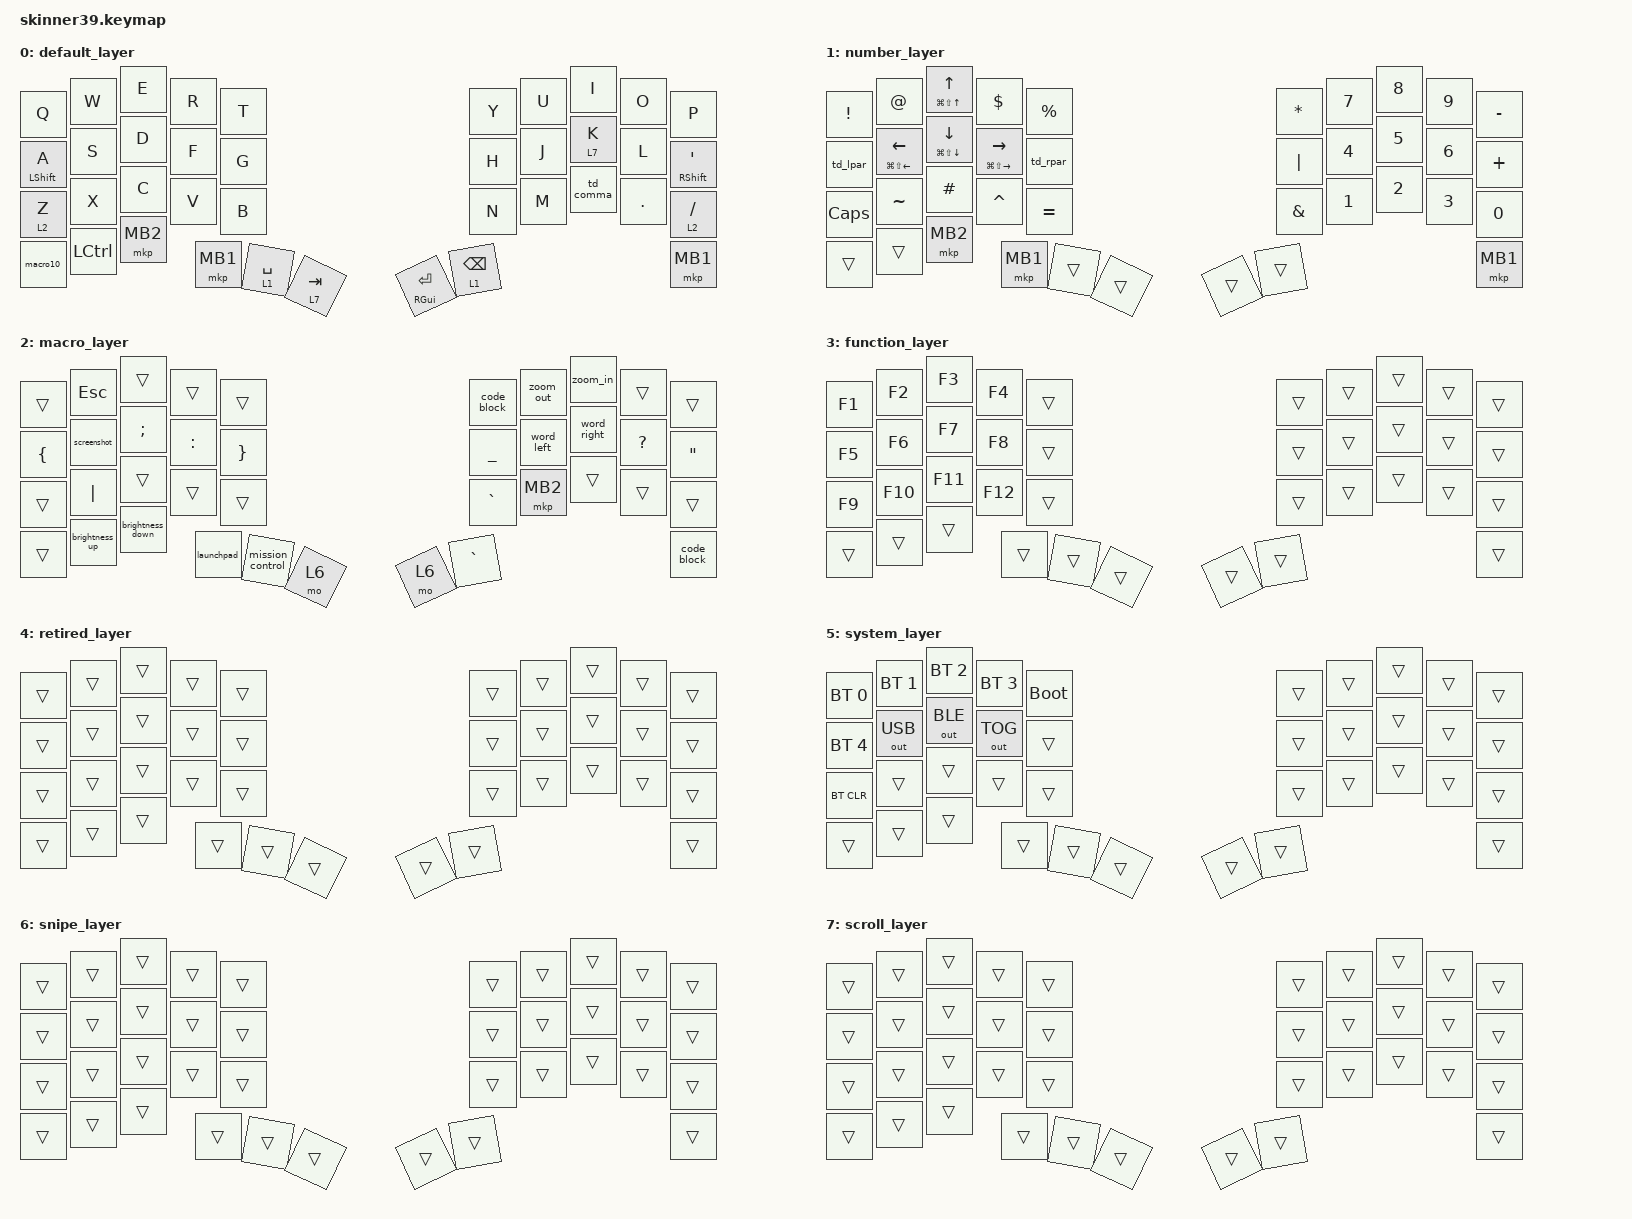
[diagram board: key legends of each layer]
#include <behaviors.dtsi>
#include <dt-bindings/zmk/bt.h>
#include <dt-bindings/zmk/keys.h>
#include <dt-bindings/zmk/outputs.h>
#include <dt-bindings/zmk/pointing.h>
#include <input/processors.dtsi>
#include <dt-bindings/zmk/input_transform.h>

/*
 * Trackball input-processors are defined ONCE, in the board .dts
 *   (boards/yangxing/skinner39/skinner39_left_nrf52840_zmk.dts -> &pmw_listener).
 * The old per-keymap override that used to sit here silently bound scroll onto
 * macro_layer (index 2) at 1/4 speed with Y inverted, shadowing the .dts. Removed.
 * Reach: hold a left thumb (&lt 7) = scroll (layer 7);  &mo 6 (macro_layer) = snipe (layer 6).
 * See keysmith-design/06-trackball-T0-T1-implementation.md.
 */

/ {
    behaviors {
        hml: homerow_mods_left {
            compatible = "zmk,behavior-hold-tap";
            label = "HOMEROW_MODS_LEFT";
            #binding-cells = <2>;
            flavor = "balanced";
            tapping-term-ms = <200>;      // Reduced from 280ms for faster shift activation
            quick-tap-ms = <125>;         // Reduced from 175ms
            require-prior-idle-ms = <100>; // Reduced from 150ms
            bindings = <&kp>, <&kp>;

            // Cross-hand: A's shift engages only when chorded with a RIGHT-hand key
            // (5-9 / 15-19 / 25-29) or the click/space thumbs (33 34), so same-hand
            // left rolls never misfire as shift. (Thumbs 35-38 were a 2026-06-12
            // A=LGUI-era addition for Cmd+Tab/Enter/Backspace; dropped 2026-06-16 with
            // the LSHIFT restore — A no longer carries a mod that wants those chords.)
            hold-trigger-key-positions = <5 6 7 8 9 15 16 17 18 19 25 26 27 28 29 33 34>;
            hold-trigger-on-release;
        };

        hmr: homerow_mods_right {
            compatible = "zmk,behavior-hold-tap";
            label = "HOMEROW_MODS_RIGHT";
            #binding-cells = <2>;
            flavor = "balanced";
            tapping-term-ms = <200>;      // Reduced from 280ms for faster shift activation
            quick-tap-ms = <125>;         // Reduced from 175ms
            require-prior-idle-ms = <100>; // Reduced from 150ms
            bindings = <&kp>, <&kp>;

            hold-trigger-key-positions = <0 1 2 3 4 10 11 12 13 14 20 21 22 23 24 30 31 32>;
            hold-trigger-on-release;
        };

        my_lt: my_layer_tap {
            compatible = "zmk,behavior-hold-tap";
            label = "MY_LAYER_TAP";
            #binding-cells = <2>;
            flavor = "balanced";
            tapping-term-ms = <280>;
            quick-tap-ms = <175>;
            require-prior-idle-ms = <150>;
            bindings = <&mo>, <&kp>;
        };

        // Double-tap , = ` (single backtick) — base-layer convenience, added 2026-06-16.
        // Comma chosen because ",," never occurs in real text, so a natural double can't
        // misfire; and tap-dance flushes the pending comma the instant the NEXT key is
        // pressed, so mid-sentence commas have no perceptible delay — only a comma typed
        // as the very last keystroke before a pause waits out the 200ms term. Clean (no
        // hold to nest), leaves / (pos 29) and its macro-layer hold untouched.
        td_comma: tap_dance_comma {
            compatible = "zmk,behavior-tap-dance";
            label = "TD_COMMA";
            #binding-cells = <0>;
            tapping-term-ms = <200>;
            bindings = <&kp COMMA>, <&kp GRAVE>;
        };

        // Double-tap ( = [  and  double-tap ) = ]  — on the layer-1 (number_layer) paren
        // keys. Same hold-free tap-dance shape as td_comma: a single paren flushes the
        // instant the NEXT key is pressed, so it's only delayed when typed as the very last
        // keystroke before a pause; a rapid double within 200ms yields the bracket. Heads-up:
        // unlike ",,", a real "((" / "))" (nested calls, grouped math) WILL land as a bracket
        // — accepted tradeoff for one-finger brackets without leaving the number layer.
        td_lpar: tap_dance_lpar {
            compatible = "zmk,behavior-tap-dance";
            label = "TD_LPAR";
            #binding-cells = <0>;
            tapping-term-ms = <200>;
            bindings = <&kp LPAR>, <&kp LBKT>;
        };

        td_rpar: tap_dance_rpar {
            compatible = "zmk,behavior-tap-dance";
            label = "TD_RPAR";
            #binding-cells = <0>;
            tapping-term-ms = <200>;
            bindings = <&kp RPAR>, <&kp RBKT>;
        };

        // Arrow-to-edge SELECT (the layer-1 arrows): tap = move one; HOLD = select to the
        // edge in that direction — macOS ⌘⇧+arrow. The behavior lives ON the arrow keys,
        // so there's no separate modifier to reach for. flavor=tap-preferred + quick-tap:
        //   • quick tap = move (rapid taps still move N lines/chars, instant on release)
        //   • deliberate ~200ms hold = select-to-edge
        //   • tap-then-hold still auto-repeats the plain arrow, so hold-to-repeat isn't lost
        // Directions:  ↑ ⌘⇧↑ select to doc top      ↓ ⌘⇧↓ select to doc bottom
        //              ← ⌘⇧← select to line start   → ⌘⇧→ select to line end
        arrowsel: arrow_select {
            compatible = "zmk,behavior-hold-tap";
            label = "ARROW_SELECT";
            #binding-cells = <2>;
            flavor = "tap-preferred";
            tapping-term-ms = <200>;
            quick-tap-ms = <200>;
            bindings = <&kp>, <&kp>;
        };

        // Hold K = SCROLL (layer 7); tap K = K. A right-hand, NON-thumb twin of the
        // left-thumb &lt 7 TAB scroll hold (default_layer pos 35), so either hand can drive
        // the right-half trackball's scroll. Home-row K was picked over the bottom-right
        // corner (pos 38, a pinky stretch): K rests under the middle finger and is a rare
        // letter (~0.8% of text). balanced + require-prior-idle-150 — the same guard the
        // homerow mods use — means a K in mid-typing-stream is ALWAYS the letter; the scroll
        // layer only arms after a ~150ms pause (i.e. once you've stopped typing to reach for
        // the ball). 200ms term ≈ the left-thumb scroll's hold latency. NB: trackball motion
        // does NOT resolve a hold-tap, so scroll engages on the 200ms timeout, never early.
        scrl_lt: scroll_layer_tap {
            compatible = "zmk,behavior-hold-tap";
            label = "SCROLL_LAYER_TAP";
            #binding-cells = <2>;
            flavor = "balanced";
            tapping-term-ms = <200>;
            quick-tap-ms = <175>;
            require-prior-idle-ms = <150>;
            bindings = <&mo>, <&kp>;
        };
    };

    macros {
        screenshot: screenshot {
            compatible = "zmk,behavior-macro";
            label = "SCREENSHOT";
            #binding-cells = <0>;
            wait-ms = <40>;
            tap-ms = <40>;
            bindings =
                <&macro_press>,
                <&kp LGUI &kp LSHFT>,
                <&macro_tap>,
                <&kp N4>,
                <&macro_release>,
                <&kp LSHFT &kp LGUI>;
        };

        zoom_out: zoom_out {
            compatible = "zmk,behavior-macro";
            label = "ZOOM_OUT";
            #binding-cells = <0>;
            wait-ms = <40>;
            tap-ms = <40>;
            bindings =
                <&macro_press>,
                <&kp LGUI>,
                <&macro_tap>,
                <&kp MINUS>,
                <&macro_release>,
                <&kp LGUI>;
        };

        zoom_in: zoom_in {
            compatible = "zmk,behavior-macro";
            label = "ZOOM_IN";
            #binding-cells = <0>;
            wait-ms = <40>;
            tap-ms = <40>;
            bindings =
                <&macro_press>,
                <&kp LGUI &kp LSHFT>,
                <&macro_tap>,
                <&kp EQUAL>,
                <&macro_release>,
                <&kp LSHFT &kp LGUI>;
        };

        word_right: word_right {
            compatible = "zmk,behavior-macro";
            label = "WORD_RIGHT";
            #binding-cells = <0>;
            wait-ms = <40>;
            tap-ms = <40>;
            bindings =
                <&macro_press>,
                <&kp LCTRL>,
                <&macro_tap>,
                <&kp RIGHT>,
                <&macro_release>,
                <&kp LCTRL>;
        };

        word_left: word_left {
            compatible = "zmk,behavior-macro";
            label = "WORD_LEFT";
            #binding-cells = <0>;
            wait-ms = <40>;
            tap-ms = <40>;
            bindings =
                <&macro_press>,
                <&kp LCTRL>,
                <&macro_tap>,
                <&kp LEFT>,
                <&macro_release>,
                <&kp LCTRL>;
        };

        brightness_up: brightness_up {
            compatible = "zmk,behavior-macro";
            label = "BRIGHTNESS_UP";
            #binding-cells = <0>;
            bindings = <&kp F15>;
        };

        brightness_down: brightness_down {
            compatible = "zmk,behavior-macro";
            label = "BRIGHTNESS_DOWN";
            #binding-cells = <0>;
            bindings = <&kp F14>;
        };

        launchpad: launchpad {
            compatible = "zmk,behavior-macro";
            label = "LAUNCHPAD";
            #binding-cells = <0>;
            bindings = <&kp F4>;
        };

        mission_control: mission_control {
            compatible = "zmk,behavior-macro";
            label = "MISSION_CONTROL";
            #binding-cells = <0>;
            bindings = <&kp F3>;
        };

        code_block: code_block {
            compatible = "zmk,behavior-macro";
            label = "CODE_BLOCK";
            #binding-cells = <0>;
            wait-ms = <5>;   // was 40/40 -> three visibly separate backticks (~240ms);
            tap-ms = <5>;    // 5/5 lands as one ~30ms burst, still safely paced for BLE
            bindings = <&kp GRAVE &kp GRAVE &kp GRAVE>;
        };

        macro10: macro10 {
            compatible = "zmk,behavior-macro";
            label = "CTRL_UP";
            #binding-cells = <0>;
            wait-ms = <40>;
            tap-ms = <40>;
            bindings =
                <&macro_press>,
                <&kp LCTRL>,
                <&macro_tap>,
                <&kp UP>,
                <&macro_release>,
                <&kp LCTRL>;
        };
    };

    combos {
        compatible = "zmk,combos";
        // The H1 recovery road to system_layer(5). Supersedes P1-7's tri-layer
        // (if-layers 1+2 -> 5), which was confirmed INERT on-device: the my_lt
        // activators exist only on the base layer, so 1 and 2 can't be co-held.
        combo_system {
            timeout-ms = <50>;
            require-prior-idle-ms = <150>;
            key-positions = <0 9>;   // Q + P, the two top-outer corners
            bindings = <&sl 5>;      // sticky -> next key lands on system_layer(5)
            layers = <0>;
        };
    };

    keymap {
        compatible = "zmk,keymap";

        // 2026-06-16: A-hold = LSHIFT again (reverted the 2026-06-12 A=LGUI experiment
        // after use — owner wants the left-hand shift back, symmetric with ' = RSHIFT on
        // the right). The board now has TWO home-row shifts: A (left, hml) and ' (right,
        // hmr). NOTE: nothing now maps L-GUI as a hold — if the Cmd-hold is wanted again,
        // rehome it on a free key rather than re-stealing A (ask owner).
        default_layer {
            bindings = <
  &kp Q          &kp W      &kp E        &kp R     &kp T                                                  &kp Y               &kp U  &kp I      &kp O    &kp P
  &hml LSHIFT A  &kp S      &kp D        &kp F     &kp G                                                  &kp H               &kp J  &scrl_lt 7 K  &kp L    &hmr RSHIFT SQT
  &my_lt 2 Z     &kp X      &kp C        &kp V     &kp B                                                  &kp N               &kp M  &td_comma  &kp DOT  &my_lt 2 FSLH
  &macro10       &kp LCTRL  &mkp MB2  &mkp MB1  &my_lt 1 SPACE  &lt 7 TAB  &mt RIGHT_GUI ENTER  &my_lt 1 BACKSPACE                             &mkp MB1
            >;
        };

        number_layer {
            bindings = <
  &kp EXCL  &kp AT  &arrowsel LG(LS(UP)) UP  &kp DLLR  &kp PRCNT                                       &kp ASTRK  &kp N7  &kp N8  &kp N9  &kp MINUS
  &td_lpar  &arrowsel LG(LS(LEFT)) LEFT  &arrowsel LG(LS(DOWN)) DOWN  &arrowsel LG(LS(RIGHT)) RIGHT  &td_rpar  &kp PIPE   &kp N4  &kp N5  &kp N6  &kp PLUS
  &kp CAPS  &kp TILDE  &kp HASH  &kp CARET  &kp EQUAL                  &kp AMPS   &kp N1  &kp N2  &kp N3  &kp N0
  &trans    &trans     &mkp MB2  &mkp MB1   &trans     &trans  &trans  &trans                             &mkp MB1
            >;
        };

        // pos 19 = " : with A-hold = LSHIFT restored (2026-06-16), A + ' types " again
        // natively, so this DQT is now just a hold-free convenience on the same finger
        // (kept, harmless). pos 25 = ` single backtick, down the Y/H/N column from
        // &code_block at pos 5; pos 37 = ` thumb twin, beside the thumb &code_block (38).
        macro_layer {
            bindings = <
  &trans    &kp ESC         &trans            &trans      &trans                          &code_block  &zoom_out   &zoom_in     &trans  &trans
  &kp LBRC  &screenshot     &kp SEMI          &kp COLON   &kp RBRC                        &kp UNDER  &word_left  &word_right  &kp QMARK  &kp DQT
  &trans    &kp PIPE        &trans            &trans      &trans                          &kp GRAVE  &mkp MB2    &trans       &trans  &trans
  &trans    &brightness_up  &brightness_down  &launchpad  &mission_control  &mo 6  &mo 6  &kp GRAVE                                &code_block
            >;
        };

        function_layer {
            bindings = <
  &kp F1  &kp F2   &kp F3   &kp F4   &trans                  &trans  &trans  &trans  &trans  &trans
  &kp F5  &kp F6   &kp F7   &kp F8   &trans                  &trans  &trans  &trans  &trans  &trans
  &kp F9  &kp F10  &kp F11  &kp F12  &trans                  &trans  &trans  &trans  &trans  &trans
  &trans  &trans   &trans   &trans   &trans  &trans  &trans  &trans                          &trans
            >;
        };

        // index 4 — RETIRED 2026-06-12 (was mouse_layer: home row became mouse buttons,
        // D = RCLK). Its ONLY activator was the trackball motion processor
        // (&zip_temp_mouse 4 300 in the left board .dts base chain), now removed there —
        // ball jitter kept re-raising it and excluded-positions made it feel stuck.
        // Kept as an all-&trans placeholder ONLY to preserve hard-coded layer indices:
        // system(5) via the Q+P combo &sl 5, snipe(6) via &mo 6 + &pmw_listener
        // layers=<6>, scroll(7) via &lt 7 + layers=<7>. Do NOT delete without
        // renumbering ALL of those (keymap + left .dts). Free real estate otherwise.
        retired_layer {
            bindings = <
  &trans  &trans  &trans  &trans  &trans                  &trans  &trans  &trans  &trans  &trans
  &trans  &trans  &trans  &trans  &trans                  &trans  &trans  &trans  &trans  &trans
  &trans  &trans  &trans  &trans  &trans                  &trans  &trans  &trans  &trans  &trans
  &trans  &trans  &trans  &trans  &trans  &trans  &trans  &trans                          &trans
            >;
        };

        // 2026-06-10 hardening: full BLE-profile coverage + manual output-endpoint
        // control. There was previously NO &out access and no key for profiles 3/4 —
        // if the active profile ever lands there (e.g. via Studio), the only way back
        // was a settings wipe; exactly the 2026-06-10 "zombie keyboard" outage.
        // See docs/2026-06-10-split-ble-root-cause-and-fix.md.
        // Physical (via Q+P sticky combo): Q W E R = BT_SEL 0-3, T = BOOTLOADER,
        //   A = BT_SEL 4, S = OUT_USB, D = OUT_BLE, F = OUT_TOG, Z = BT_CLR.
        system_layer {
            bindings = <
  &bt BT_SEL 0  &bt BT_SEL 1  &bt BT_SEL 2  &bt BT_SEL 3  &bootloader                  &trans  &trans  &trans  &trans  &trans
  &bt BT_SEL 4  &out OUT_USB  &out OUT_BLE  &out OUT_TOG  &trans                       &trans  &trans  &trans  &trans  &trans
  &bt BT_CLR    &trans        &trans        &trans        &trans                       &trans  &trans  &trans  &trans  &trans
  &trans        &trans        &trans        &trans        &trans       &trans  &trans  &trans                          &trans
            >;
        };

        // index 6 — carries the SNIPE input-processor (&pmw_listener.snipe, layers=<6>).
        // Reached via &mo 6 on macro_layer's center thumbs (35/36) — the ONLY activators
        // of this layer. The 49eb3f1 merge silently reverted them to &trans (snipe
        // orphaned on the 2026-06-10 flash); restored. Renamed from "scroll_layer"
        // (which was misleading: layer 6 has always been snipe, not scroll).
        snipe_layer {
            bindings = <
  &trans  &trans  &trans  &trans  &trans                  &trans  &trans  &trans  &trans  &trans
  &trans  &trans  &trans  &trans  &trans                  &trans  &trans  &trans  &trans  &trans
  &trans  &trans  &trans  &trans  &trans                  &trans  &trans  &trans  &trans  &trans
  &trans  &trans  &trans  &trans  &trans  &trans  &trans  &trans                          &trans
            >;
        };

        // index 7 — carries the SCROLL input-processor (&pmw_listener.scroller, layers=<7>).
        // Reached via the dedicated left-thumb &lt 7 (default_layer position 35). New layer.
        scroll_layer {
            bindings = <
  &trans  &trans  &trans  &trans  &trans                  &trans  &trans  &trans  &trans  &trans
  &trans  &trans  &trans  &trans  &trans                  &trans  &trans  &trans  &trans  &trans
  &trans  &trans  &trans  &trans  &trans                  &trans  &trans  &trans  &trans  &trans
  &trans  &trans  &trans  &trans  &trans  &trans  &trans  &trans                          &trans
            >;
        };
    };
};
